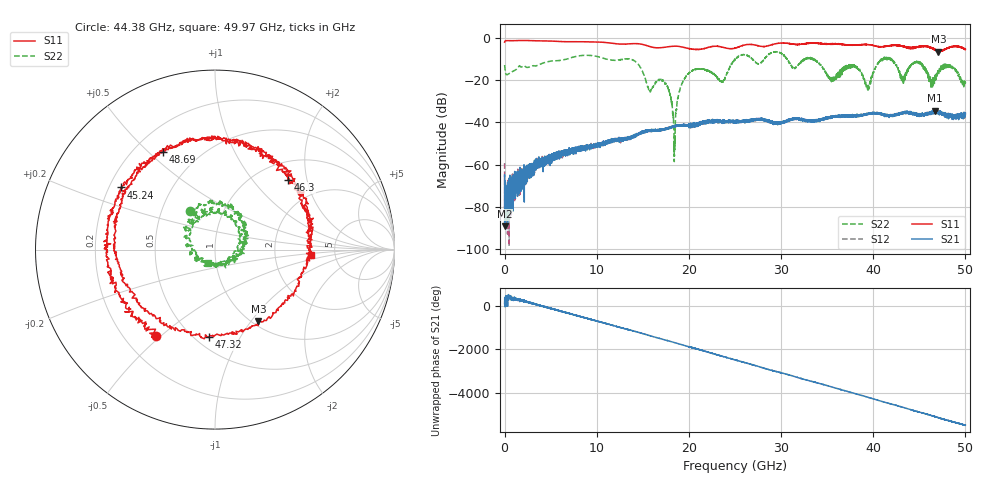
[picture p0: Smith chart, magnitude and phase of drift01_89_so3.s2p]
!Created with skrf (http://scikit-rf.org).
# Hz S RI R 50.0
!freq ReS11 ImS11 ReS21 ImS21 ReS12 ImS12 ReS22 ImS22
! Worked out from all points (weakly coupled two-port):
!   10001 points, 300 kHz to 50 GHz, reference 50 ohm
!   highest |S21| = -34.49 dB at 46.69 GHz (marker M1); lowest = -89.1 dB at 10.3 MHz (marker M2)
!   lowest |S11| = -6.6 dB at 47.08 GHz (marker M3), VSWR 2.74, Z = 53.4 - j54.3 ohm
!   |S11| at or under -10 dB: nowhere
!   |S22| runs from -58.6 to -6.6 dB; largest |S21 - S12| = 0.0044
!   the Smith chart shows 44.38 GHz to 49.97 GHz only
!   S11 on the Smith chart (normalised r, x): 44.38 GHz: 0.33, -0.48; 45.24 GHz: 0.25, +0.28; 46.3 GHz: 1.36, +1.55; 47.32 GHz: 0.58, -0.75; 48.69 GHz: 0.31, +0.56; 49.97 GHz: 3.27, -0.29
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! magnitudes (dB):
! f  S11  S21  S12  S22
! 300 kHz  -2.1  -64.9  -59.3  -13.0
! 10.3 MHz  -2.1  -89.1  -80.3  -13.5
! 8.335 GHz  -1.9  -52.6  -52.7  -8.5
! 16.67 GHz  -4.8  -44.1  -43.6  -20.0
! 17.74 GHz  -4.3  -42.7  -42.9  -24.1
! 18.44 GHz  -4.1  -41.7  -42.1  -49.1
! 19.91 GHz  -5.1  -41.4  -41.4  -17.2
! 23.61 GHz  -4.5  -39.5  -39.3  -20.5
! 25 GHz  -5.0  -39.5  -39.8  -10.3
! 33.34 GHz  -2.6  -39.3  -39.4  -10.1
! 39.46 GHz  -3.3  -35.7  -35.8  -23.2
! 41.67 GHz  -3.9  -37.0  -36.5  -10.0
! 43.19 GHz  -4.1  -35.6  -36.0  -20.0
! 44.38 GHz  -4.7  -36.3  -36.2  -11.8
! 45.24 GHz  -4.1  -36.3  -36.6  -12.3
! 46.3 GHz  -5.0  -35.7  -35.5  -21.9
! 46.69 GHz  -5.5  -34.5  -35.5  -17.8
! 47.08 GHz  -6.6  -35.3  -35.5  -16.7
! 47.32 GHz  -6.2  -35.6  -35.3  -15.0
! 48.69 GHz  -4.2  -37.7  -37.1  -14.1
! 49.97 GHz  -5.4  -36.9  -35.4  -21.4
! 50 GHz  -5.6  -35.7  -36.8  -21.7
